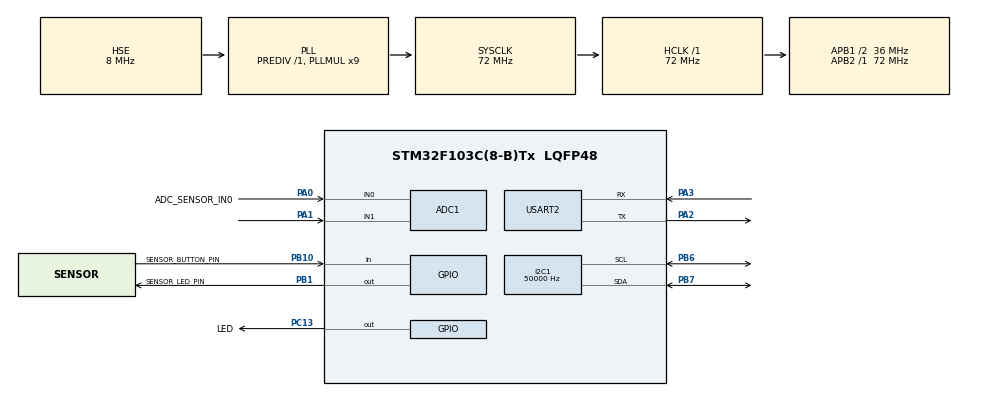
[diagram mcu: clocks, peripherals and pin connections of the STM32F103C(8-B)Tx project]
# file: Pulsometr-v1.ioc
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ADC1.Channel-2\#ChannelRegularConversion=ADC_CHANNEL_0
ADC1.ContinuousConvMode=ENABLE
ADC1.EnableAnalogWatchDog=false
ADC1.EnableRegularConversion=ENABLE
ADC1.ExternalTrigConv=ADC_SOFTWARE_START
ADC1.InjNumberOfConversion=0
ADC1.NbrOfConversionFlag=1
ADC1.Rank-2\#ChannelRegularConversion=1
ADC1.SamplingTime-2\#ChannelRegularConversion=ADC_SAMPLETIME_55CYCLES_5
ADC1.master=1
Dma.ADC1.0.Direction=DMA_PERIPH_TO_MEMORY
Dma.ADC1.0.Instance=DMA1_Channel1
Dma.ADC1.0.MemDataAlignment=DMA_MDATAALIGN_HALFWORD
Dma.ADC1.0.MemInc=DMA_MINC_DISABLE
Dma.ADC1.0.Mode=DMA_CIRCULAR
Dma.ADC1.0.PeriphDataAlignment=DMA_PDATAALIGN_HALFWORD
Dma.ADC1.0.PeriphInc=DMA_PINC_DISABLE
Dma.ADC1.0.Priority=DMA_PRIORITY_MEDIUM
Dma.Request0=ADC1
I2C1.ClockSpeed=50000
Mcu.Family=STM32F1
Mcu.Name=STM32F103C(8-B)Tx
Mcu.Package=LQFP48
NVIC.DMA1_Channel1_IRQn=true\:0\:0\:false\:false\:true\:false
NVIC.PriorityGroup=NVIC_PRIORITYGROUP_4
NVIC.TIM2_IRQn=true\:0\:0\:false\:false\:true\:true
NVIC.USART2_IRQn=true\:0\:0\:false\:false\:true\:true
PA0-WKUP.GPIO_Label=ADC_SENSOR_IN0
PA0-WKUP.Signal=ADCx_IN0
PA1.Signal=ADCx_IN1
PA13.Mode=Serial_Wire
PA13.Signal=SYS_JTMS-SWDIO
PA14.Mode=Serial_Wire
PA14.Signal=SYS_JTCK-SWCLK
PA2.Mode=Asynchronous
PA2.Signal=USART2_TX
PA3.GPIO_PuPd=GPIO_PULLDOWN
PA3.Mode=Asynchronous
PA3.Signal=USART2_RX
PB1.GPIO_Label=SENSOR_LED_PIN
PB1.Signal=GPIO_Output
PB10.GPIO_Label=SENSOR_BUTTON_PIN
PB10.GPIO_PuPd=GPIO_PULLUP
PB10.Signal=GPIO_Input
PB6.Mode=I2C
PB6.Signal=I2C1_SCL
PB7.Mode=I2C
PB7.Signal=I2C1_SDA
PC13-TAMPER-RTC.GPIO_Label=LED
PC13-TAMPER-RTC.Signal=GPIO_Output
PC14-OSC32_IN.Mode=LSE-External-Oscillator
PC14-OSC32_IN.Signal=RCC_OSC32_IN
PC15-OSC32_OUT.Mode=LSE-External-Oscillator
PC15-OSC32_OUT.Signal=RCC_OSC32_OUT
PD0-OSC_IN.Mode=HSE-External-Oscillator
PD0-OSC_IN.Signal=RCC_OSC_IN
PD1-OSC_OUT.Mode=HSE-External-Oscillator
PD1-OSC_OUT.Signal=RCC_OSC_OUT
ProjectManager.HeapSize=0x200
ProjectManager.StackSize=0x400
ProjectManager.TargetToolchain=TrueSTUDIO
RCC.ADCPresc=RCC_ADCPCLK2_DIV8
RCC.AHBFreq_Value=72000000
RCC.APB1CLKDivider=RCC_HCLK_DIV2
RCC.APB1Freq_Value=36000000
RCC.APB1TimFreq_Value=72000000
RCC.APB2Freq_Value=72000000
RCC.APB2TimFreq_Value=72000000
RCC.HCLKFreq_Value=72000000
RCC.PLLMUL=RCC_PLL_MUL9
RCC.PLLSourceVirtual=RCC_PLLSOURCE_HSE
RCC.SYSCLKFreq_VALUE=72000000
RCC.SYSCLKSource=RCC_SYSCLKSOURCE_PLLCLK
RCC.USBFreq_Value=72000000
SH.ADCx_IN0.0=ADC1_IN0,IN0
SH.ADCx_IN1.0=ADC1_IN1,IN1
TIM2.AutoReloadPreload=TIM_AUTORELOAD_PRELOAD_DISABLE
TIM2.Period=1999
TIM2.Prescaler=71
TIM2.TIM_MasterOutputTrigger=TIM_TRGO_UPDATE
USART2.VirtualMode=VM_ASYNC
VP_TIM2_VS_ClockSourceINT.Mode=Internal
board=custom

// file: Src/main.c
/**
  ******************************************************************************
  * @file           : main.c
  * @brief          : Main program body
  ******************************************************************************
  ** This notice applies to any and all portions of this file
  * that are not between comment pairs USER CODE BEGIN and
  * USER CODE END. Other portions of this file, whether
  * inserted by the user or by software development tools
  * are owned by their respective copyright owners.
  *
  * COPYRIGHT(c) 2020 STMicroelectronics
  *
  * Redistribution and use in source and binary forms, with or without modification,
  * are permitted provided that the following conditions are met:
  *   1. Redistributions of source code must retain the above copyright notice,
  *      this list of conditions and the following disclaimer.
  *   2. Redistributions in binary form must reproduce the above copyright notice,
  *      this list of conditions and the following disclaimer in the documentation
  *      and/or other materials provided with the distribution.
  *   3. Neither the name of STMicroelectronics nor the names of its contributors
  *      may be used to endorse or promote products derived from this software
  *      without specific prior written permission.
  *
  * THIS SOFTWARE IS PROVIDED BY THE COPYRIGHT HOLDERS AND CONTRIBUTORS "AS IS"
  * AND ANY EXPRESS OR IMPLIED WARRANTIES, INCLUDING, BUT NOT LIMITED TO, THE
  * IMPLIED WARRANTIES OF MERCHANTABILITY AND FITNESS FOR A PARTICULAR PURPOSE ARE
  * DISCLAIMED. IN NO EVENT SHALL THE COPYRIGHT HOLDER OR CONTRIBUTORS BE LIABLE
  * FOR ANY DIRECT, INDIRECT, INCIDENTAL, SPECIAL, EXEMPLARY, OR CONSEQUENTIAL
  * DAMAGES (INCLUDING, BUT NOT LIMITED TO, PROCUREMENT OF SUBSTITUTE GOODS OR
  * SERVICES; LOSS OF USE, DATA, OR PROFITS; OR BUSINESS INTERRUPTION) HOWEVER
  * CAUSED AND ON ANY THEORY OF LIABILITY, WHETHER IN CONTRACT, STRICT LIABILITY,
  * OR TORT (INCLUDING NEGLIGENCE OR OTHERWISE) ARISING IN ANY WAY OUT OF THE USE
  * OF THIS SOFTWARE, EVEN IF ADVISED OF THE POSSIBILITY OF SUCH DAMAGE.
  *
  ******************************************************************************
  */
#include "main.h"
#include "stm32f1xx_hal.h"

/* USER CODE BEGIN Includes */
#include "stdbool.h"
#include "string.h"
#include "std-stm32lib.h"
#ifdef USE_OLED_LCD
#include "ssd1306.h"
#endif
//#include "interrupt_handler.h"
/* USER CODE END Includes */

ADC_HandleTypeDef hadc1;
DMA_HandleTypeDef hdma_adc1;

I2C_HandleTypeDef hi2c1;

TIM_HandleTypeDef htim2;

UART_HandleTypeDef huart2;

/* USER CODE BEGIN PV */
/* Private variables ---------------------------------------------------------*/

uint8_t UART_NewMessage = 0;
char rxString[MAXSTRING];
uint8_t UART1_rxBuffer = '\000';
bool adcIsRead;
bool buttonIsPressed;
bool loggingEnable, loggingAuto;
#ifdef USE_OLED_LCD
bool printLcdEnable = true;
#endif
uint32_t adc[2] = {0,};

uint8_t currentButtonState;
uint8_t prevState;
uint8_t currentState;

/* USER CODE END PV */

void SystemClock_Config(void);
static void MX_GPIO_Init(void);
static void MX_DMA_Init(void);
static void MX_ADC1_Init(void);
static void MX_USART2_UART_Init(void);
static void MX_TIM2_Init(void);
static void MX_I2C1_Init(void);

/* USER CODE BEGIN PFP */
/* Private function prototypes -----------------------------------------------*/
/* USER CODE END PFP */

/* USER CODE BEGIN 0 */
#ifdef USE_OLED_LCD
void printBpm(uint8_t bpm, uint8_t lcd_id, bool update) {
	char temp_str[5];
	uint8_t i;
	snprintf(temp_str,sizeof(temp_str),"%u",bpm);
	ssd1306_WriteString(4*18, 0, temp_str, Font_11x18, White, lcd_id);
	for (i = 3 - strlen(temp_str); i>0; i-- ) {
		ssd1306_SetCursor((3-i)*11 + 4*18 ,0, lcd_id);
		ssd1306_WriteChar(32, Font_11x18, White, lcd_id);
	}

	if (update) ssd1306_UpdateScreen(lcd_id);
}

void printAdc(uint8_t adcChannel, uint8_t lcd_id, bool update) {
	char temp_str[10];
	uint8_t i;
	snprintf(temp_str,sizeof(temp_str),"%lu",adc[adcChannel]);
	for (i=0;i< 5 - strlen(temp_str);i++ ) {
		ssd1306_SetCursor(i*7 + 5*7,ADC0_Y_POS, lcd_id);
		ssd1306_WriteChar(32, Font_7x10, White,lcd_id);
	}
	if (adcChannel == 0) ssd1306_WriteString(i*7 + 5*7 ,ADC0_Y_POS,temp_str,Font_7x10,White,lcd_id);
	else if (adcChannel == 1) ssd1306_WriteString(i*7 + 5*7 ,ADC1_Y_POS,temp_str,Font_7x10,White,lcd_id);
	if (update) ssd1306_UpdateScreen(lcd_id);
}

void printMain(uint8_t lcd_id) {
	ssd1306_WriteString(22,0,"BPM:",Font_11x18,White,lcd_id);
	ssd1306_SetCursor(0,0, lcd_id);
	ssd1306_WriteChar(31, Font_16x26, White,lcd_id); // HEART symbol

	ssd1306_WriteString(ADC0_X_POS, ADC0_Y_POS,"ADC0:",Font_7x10,White,lcd_id);
	ssd1306_WriteString(ADC1_X_POS,ADC1_Y_POS,"ADC1:",Font_7x10,White,lcd_id);
	printBpm(0, lcd_id, false);
	printAdc(0, lcd_id, false);
	printAdc(1, lcd_id, true);
}
#endif
void checkButton(uint8_t MODE) {

	switch (MODE) {
	case BUTTON_TRIGGERED_MODE:
		if (HAL_GPIO_ReadPin(SENSOR_BUTTON_PIN_GPIO_Port, SENSOR_BUTTON_PIN_Pin) != GPIO_PIN_SET) {
			if (prevState != GPIO_PIN_RESET) {
				prevState = GPIO_PIN_RESET;
				buttonIsPressed = !buttonIsPressed ;
				setLed(buttonIsPressed);
			}
		} else prevState = GPIO_PIN_SET;
		break;
	case BUTTON_NORMAL_MODE:
		if (HAL_GPIO_ReadPin(SENSOR_BUTTON_PIN_GPIO_Port, SENSOR_BUTTON_PIN_Pin) != GPIO_PIN_SET) {
			if (prevState != GPIO_PIN_RESET) {
				prevState = GPIO_PIN_RESET;
				setLed(true);
				buttonIsPressed = true;
			}
		} else {
			if (prevState != GPIO_PIN_SET) {
				prevState = GPIO_PIN_SET;
				setLed(false);
			  	buttonIsPressed = false;
			}
		}
	}
}

void setLed(bool buttonIsPressed) {

	char temp_str[100];
	snprintf(temp_str,sizeof(temp_str), "led:%s\n\r", buttonIsPressed?"true":"false");
	sendMessage(temp_str);

	if (loggingAuto && buttonIsPressed) {
		loggingEnable = true;
	}

	if (buttonIsPressed) {
//		HAL_ADC_Start_IT(&hadc1);
		HAL_GPIO_WritePin(SENSOR_LED_PIN_GPIO_Port, SENSOR_LED_PIN_Pin, GPIO_PIN_SET);
		TIM_Cmd(TIM2, ENABLE);
		#ifdef USE_OLED_LCD
		printMain(MAIN_LCD);
		#endif
	}
	else {
//		HAL_ADC_Stop_IT(&hadc1);
		TIM_Cmd(TIM2, DISABLE);
		HAL_GPIO_WritePin(SENSOR_LED_PIN_GPIO_Port, SENSOR_LED_PIN_Pin, GPIO_PIN_RESET);
#ifdef USE_OLED_LCD
		ssd1306_Fill(0,MAIN_LCD);
		ssd1306_UpdateScreen(MAIN_LCD);
#endif
	}
}

/* USER CODE END 0 */

int main(void)
{
  /* USER CODE BEGIN 1 */
#ifdef USE_OLED_LCD
	void startTitle(uint8_t lcd_id)
	{
		ssd1306_WriteString(16,0,"Pulsometr",Font_11x18,White,lcd_id);
		ssd1306_UpdateScreen(lcd_id);
		HAL_Delay(50);
		ssd1306_WriteString(15,30,"by XaTa6 v1.0",Font_7x10,White,lcd_id);
		ssd1306_UpdateScreen(lcd_id);
		HAL_Delay(150);
		ssd1306_WriteString(0,41,"Lutsk,UKRAINE,2020",Font_7x10,White,lcd_id);
		ssd1306_UpdateScreen(lcd_id);
		HAL_Delay(2000);
		ssd1306_Fill(0,lcd_id);
		ssd1306_UpdateScreen(lcd_id);
	}
#endif
  /* USER CODE END 1 */

  /* MCU Configuration----------------------------------------------------------*/

  /* Reset of all peripherals, Initializes the Flash interface and the Systick. */
  HAL_Init();

  /* Configure the system clock */
  SystemClock_Config();

  /* Initialize all configured peripherals */
  MX_GPIO_Init();
  MX_DMA_Init();
  MX_ADC1_Init();
  MX_USART2_UART_Init();
  MX_TIM2_Init();
  MX_I2C1_Init();
  /* USER CODE BEGIN 2 */
  HAL_GPIO_WritePin(SENSOR_LED_PIN_GPIO_Port, SENSOR_LED_PIN_Pin, GPIO_PIN_SET);
  HAL_GPIO_WritePin(LED_GPIO_Port, LED_Pin, GPIO_PIN_SET);

  __HAL_UART_ENABLE_IT(&huart2, UART_IT_RXNE);

  sendMessage("\n\rKernel started on ....\n\r");
  sendMessage("Pulse sensor-usart driver, v1.0 (150420) by dragosha2000@gmx.net, HatSoft (c)\n\rLutsk,UA,2020\n\r");
  sendMessage("adc calibration...\n\r");

  ADC_TempSensorVrefintCmd(ENABLE);
/* Enable ADC1 DMA */
  HAL_ADC_Start_DMA(&hadc1, (uint32_t*)&adc, 2); // 耱囵蝮屐 乐�
//  ADC_DMACmd(ADC1, ENABLE);
/* Enable ADC1 */
//  ADC_Cmd(ADC1, ENABLE);
/*复位校准寄存器 */
  ADC_ResetCalibration(ADC1);
/*等待校准寄存器复位完成 */
  while(ADC_GetResetCalibrationStatus(ADC1));
/* ADC校准 */
  HAL_ADCEx_Calibration_Start(&hadc1);// ADC_StartCalibration(ADC1);
  /* 等待校准完成*/
  while(ADC_GetCalibrationStatus(ADC1));
  /* 由于没有采用外部触发，所以使用软件触发ADC转换 */
  ADC_SoftwareStartConvCmd(ADC1, ENABLE);
//  HAL_ADC_Start_IT(&hadc1);

  TIM_ClearFlag(TIM2,TIM_FLAG_UPDATE);
  TIM_ITConfig(TIM2,TIM_IT_UPDATE,ENABLE);
//  TIM_Cmd(TIM2, ENABLE);

  helpString();
  HAL_GPIO_WritePin(SENSOR_LED_PIN_GPIO_Port, SENSOR_LED_PIN_Pin, GPIO_PIN_RESET);
#ifdef USE_OLED_LCD
  ssd1306_Init(MAIN_LCD);
  ssd1306_UpdateScreen(MAIN_LCD);
  startTitle(MAIN_LCD);
#endif

  /* USER CODE END 2 */

  /* Infinite loop */
  while (1)
  {

  /* USER CODE BEGIN 3 */
	  checkButton(BUTTON_TRIGGERED_MODE); // BUTTON_NORMAL_MODE);

	  if (adcIsRead) {
		  if (loggingEnable) {
			  char temp_str[100];
			  snprintf(temp_str,sizeof(temp_str), "Readed adc data, adc[0]=%lu, adc[1]=%lu, button_state:%s\n\r", adc[0], adc[1], buttonIsPressed?"true":"false");
			  sendMessage(temp_str);
			  //HAL_ADC_Start_IT(&hadc1);// HAL_ADC_Start_DMA(&hadc1, (uint32_t*)&adc, 2);
			  adcIsRead = false;
		  } else {
#ifdef USE_OLED_LCD
			  if (printLcdEnable && buttonIsPressed) printAdc(0, MAIN_LCD, true);
//			  printAdc(0, MAIN_LCD, true);
			  HAL_Delay(50);
#endif
		  }
	  }

	  UartCommandProcessor();
  }
  /* USER CODE END 3 */

}

void SystemClock_Config(void)
{

  RCC_OscInitTypeDef RCC_OscInitStruct;
  RCC_ClkInitTypeDef RCC_ClkInitStruct;
  RCC_PeriphCLKInitTypeDef PeriphClkInit;

    /**Initializes the CPU, AHB and APB busses clocks
    */
  RCC_OscInitStruct.OscillatorType = RCC_OSCILLATORTYPE_HSE;
  RCC_OscInitStruct.HSEState = RCC_HSE_ON;
  RCC_OscInitStruct.HSEPredivValue = RCC_HSE_PREDIV_DIV1;
  RCC_OscInitStruct.HSIState = RCC_HSI_ON;
  RCC_OscInitStruct.PLL.PLLState = RCC_PLL_ON;
  RCC_OscInitStruct.PLL.PLLSource = RCC_PLLSOURCE_HSE;
  RCC_OscInitStruct.PLL.PLLMUL = RCC_PLL_MUL9;
  if (HAL_RCC_OscConfig(&RCC_OscInitStruct) != HAL_OK)
  {
    _Error_Handler(__FILE__, __LINE__);
  }

    /**Initializes the CPU, AHB and APB busses clocks
    */
  RCC_ClkInitStruct.ClockType = RCC_CLOCKTYPE_HCLK|RCC_CLOCKTYPE_SYSCLK
                              |RCC_CLOCKTYPE_PCLK1|RCC_CLOCKTYPE_PCLK2;
  RCC_ClkInitStruct.SYSCLKSource = RCC_SYSCLKSOURCE_PLLCLK;
  RCC_ClkInitStruct.AHBCLKDivider = RCC_SYSCLK_DIV1;
  RCC_ClkInitStruct.APB1CLKDivider = RCC_HCLK_DIV2;
  RCC_ClkInitStruct.APB2CLKDivider = RCC_HCLK_DIV1;

  if (HAL_RCC_ClockConfig(&RCC_ClkInitStruct, FLASH_LATENCY_2) != HAL_OK)
  {
    _Error_Handler(__FILE__, __LINE__);
  }

  PeriphClkInit.PeriphClockSelection = RCC_PERIPHCLK_ADC;
  PeriphClkInit.AdcClockSelection = RCC_ADCPCLK2_DIV8;
  if (HAL_RCCEx_PeriphCLKConfig(&PeriphClkInit) != HAL_OK)
  {
    _Error_Handler(__FILE__, __LINE__);
  }

    /**Configure the Systick interrupt time
    */
  HAL_SYSTICK_Config(HAL_RCC_GetHCLKFreq()/1000);

    /**Configure the Systick
    */
  HAL_SYSTICK_CLKSourceConfig(SYSTICK_CLKSOURCE_HCLK);

  /* SysTick_IRQn interrupt configuration */
  HAL_NVIC_SetPriority(SysTick_IRQn, 0, 0);
}

/* ADC1 init function */
static void MX_ADC1_Init(void)
{

  ADC_ChannelConfTypeDef sConfig;

    /**Common config
    */
  hadc1.Instance = ADC1;
  hadc1.Init.ScanConvMode = ADC_SCAN_DISABLE;
  hadc1.Init.ContinuousConvMode = ENABLE;
  hadc1.Init.DiscontinuousConvMode = DISABLE;
  hadc1.Init.ExternalTrigConv = ADC_SOFTWARE_START;
  hadc1.Init.DataAlign = ADC_DATAALIGN_RIGHT;
  hadc1.Init.NbrOfConversion = 1;
  if (HAL_ADC_Init(&hadc1) != HAL_OK)
  {
    _Error_Handler(__FILE__, __LINE__);
  }

    /**Configure Regular Channel
    */
  sConfig.Channel = ADC_CHANNEL_0;
  sConfig.Rank = ADC_REGULAR_RANK_1;
  sConfig.SamplingTime = ADC_SAMPLETIME_55CYCLES_5;
  if (HAL_ADC_ConfigChannel(&hadc1, &sConfig) != HAL_OK)
  {
    _Error_Handler(__FILE__, __LINE__);
  }

}

/* I2C1 init function */
static void MX_I2C1_Init(void)
{

  hi2c1.Instance = I2C1;
  hi2c1.Init.ClockSpeed = 50000;
  hi2c1.Init.DutyCycle = I2C_DUTYCYCLE_2;
  hi2c1.Init.OwnAddress1 = 0;
  hi2c1.Init.AddressingMode = I2C_ADDRESSINGMODE_7BIT;
  hi2c1.Init.DualAddressMode = I2C_DUALADDRESS_DISABLE;
  hi2c1.Init.OwnAddress2 = 0;
  hi2c1.Init.GeneralCallMode = I2C_GENERALCALL_DISABLE;
  hi2c1.Init.NoStretchMode = I2C_NOSTRETCH_DISABLE;
  if (HAL_I2C_Init(&hi2c1) != HAL_OK)
  {
    _Error_Handler(__FILE__, __LINE__);
  }

}

/* TIM2 init function */
static void MX_TIM2_Init(void)
{

  TIM_ClockConfigTypeDef sClockSourceConfig;
  TIM_MasterConfigTypeDef sMasterConfig;

  htim2.Instance = TIM2;
  htim2.Init.Prescaler = 71;
  htim2.Init.CounterMode = TIM_COUNTERMODE_UP;
  htim2.Init.Period = 1999;
  htim2.Init.ClockDivision = TIM_CLOCKDIVISION_DIV1;
  htim2.Init.AutoReloadPreload = TIM_AUTORELOAD_PRELOAD_DISABLE;
  if (HAL_TIM_Base_Init(&htim2) != HAL_OK)
  {
    _Error_Handler(__FILE__, __LINE__);
  }

  sClockSourceConfig.ClockSource = TIM_CLOCKSOURCE_INTERNAL;
  if (HAL_TIM_ConfigClockSource(&htim2, &sClockSourceConfig) != HAL_OK)
  {
    _Error_Handler(__FILE__, __LINE__);
  }

  sMasterConfig.MasterOutputTrigger = TIM_TRGO_ENABLE;
  sMasterConfig.MasterSlaveMode = TIM_MASTERSLAVEMODE_DISABLE;
  if (HAL_TIMEx_MasterConfigSynchronization(&htim2, &sMasterConfig) != HAL_OK)
  {
    _Error_Handler(__FILE__, __LINE__);
  }

}

/* USART2 init function */
static void MX_USART2_UART_Init(void)
{

  huart2.Instance = USART2;
  huart2.Init.BaudRate = 115200;
  huart2.Init.WordLength = UART_WORDLENGTH_8B;
  huart2.Init.StopBits = UART_STOPBITS_1;
  huart2.Init.Parity = UART_PARITY_NONE;
  huart2.Init.Mode = UART_MODE_TX_RX;
  huart2.Init.HwFlowCtl = UART_HWCONTROL_NONE;
  huart2.Init.OverSampling = UART_OVERSAMPLING_16;
  if (HAL_UART_Init(&huart2) != HAL_OK)
  {
    _Error_Handler(__FILE__, __LINE__);
  }

}

static void MX_DMA_Init(void)
{
  /* DMA controller clock enable */
  __HAL_RCC_DMA1_CLK_ENABLE();

  /* DMA interrupt init */
  /* DMA1_Channel1_IRQn interrupt configuration */
  HAL_NVIC_SetPriority(DMA1_Channel1_IRQn, 0, 0);
  HAL_NVIC_EnableIRQ(DMA1_Channel1_IRQn);

}

/** Configure pins as
        * Analog
        * Input
        * Output
        * EVENT_OUT
        * EXTI
*/
static void MX_GPIO_Init(void)
{

  GPIO_InitTypeDef GPIO_InitStruct;

  /* GPIO Ports Clock Enable */
  __HAL_RCC_GPIOC_CLK_ENABLE();
  __HAL_RCC_GPIOD_CLK_ENABLE();
  __HAL_RCC_GPIOA_CLK_ENABLE();
  __HAL_RCC_GPIOB_CLK_ENABLE();

  /*Configure GPIO pin Output Level */
  HAL_GPIO_WritePin(LED_GPIO_Port, LED_Pin, GPIO_PIN_RESET);

  /*Configure GPIO pin Output Level */
  HAL_GPIO_WritePin(SENSOR_LED_PIN_GPIO_Port, SENSOR_LED_PIN_Pin, GPIO_PIN_RESET);

  /*Configure GPIO pin : LED_Pin */
  GPIO_InitStruct.Pin = LED_Pin;
  GPIO_InitStruct.Mode = GPIO_MODE_OUTPUT_PP;
  GPIO_InitStruct.Pull = GPIO_NOPULL;
  GPIO_InitStruct.Speed = GPIO_SPEED_FREQ_LOW;
  HAL_GPIO_Init(LED_GPIO_Port, &GPIO_InitStruct);

  /*Configure GPIO pin : SENSOR_LED_PIN_Pin */
  GPIO_InitStruct.Pin = SENSOR_LED_PIN_Pin;
  GPIO_InitStruct.Mode = GPIO_MODE_OUTPUT_PP;
  GPIO_InitStruct.Pull = GPIO_NOPULL;
  GPIO_InitStruct.Speed = GPIO_SPEED_FREQ_LOW;
  HAL_GPIO_Init(SENSOR_LED_PIN_GPIO_Port, &GPIO_InitStruct);

  /*Configure GPIO pin : SENSOR_BUTTON_PIN_Pin */
  GPIO_InitStruct.Pin = SENSOR_BUTTON_PIN_Pin;
  GPIO_InitStruct.Mode = GPIO_MODE_INPUT;
  GPIO_InitStruct.Pull = GPIO_PULLUP;
  HAL_GPIO_Init(SENSOR_BUTTON_PIN_GPIO_Port, &GPIO_InitStruct);

}

/* USER CODE BEGIN 4 */
void Delay(uint16_t nCount)
{
	while (nCount--);
}

void UartCommandProcessor() {

	char string_temp[50];
	int8_t message_id;
//	char binaryString[(sizeof(int) << 3) + 1];
//	char* temp_str;

	if (UART_NewMessage == 1) {
		snprintf(string_temp,sizeof(string_temp),"<UART0> incoming message:%s\n\r", rxString);
		sendMessage(string_temp);
		message_id = processUartMessage(rxString);
		if (message_id>-1) {
			snprintf(string_temp,sizeof(string_temp),"<UART0> command id:%u\n\r", message_id);
			sendMessage(string_temp);
			switch (message_id) {
			case UART_CMD_GET_ADC:
				readAdc();
				break;
			case UART_CMD_HELP:
				helpString();
				break;
			case UART_CMD_LED_ON:
				setLed(true);
				break;
			case UART_CMD_LED_OFF:
				setLed(false);
				break;
			} // loggingEnable
		} else {
			sendMessage("incorrect command !\n\r");
		}
		UART_NewMessage = 0;
	}
}

uint8_t processUartMessage(char* string) {

	char* index;
//	char str1[6];
	int8_t id = -1;

	index = strstr(string,CMD_HELP_DEFINE);
    if(index!=NULL) return UART_CMD_HELP;
    else {
    	index = strstr(string,CMD_GETADC_DEFINE);
    	if (index!=NULL) {
    		return UART_CMD_GET_ADC;
    	} else {
        	index = strstr(string,CMD_LEDON_DEFINE);
        	if (index!=NULL) {
        		return UART_CMD_LED_ON;
        	} else {
            	index = strstr(string,CMD_LEDOFF_DEFINE);
            	if (index!=NULL) {
            		return UART_CMD_LED_OFF;
            	} else {
                	index = strstr(string,CMD_LOGGINGON_DEFINE);
                	if (index!=NULL) {
                		loggingEnable = true;
                		loggingAuto = false;
                		setLed(buttonIsPressed);
                		return UART_CMD_LOGGING_ON;
                	} else {
                    	index = strstr(string,CMD_LOGGINGOFF_DEFINE);
                    	if (index!=NULL) {
                    		loggingEnable = false;
                    		loggingAuto = false;
                    		setLed(buttonIsPressed);
                    		return UART_CMD_LOGGING_OFF;
                    	} else {
                        	index = strstr(string,CMD_LOGGINGAUTO_DEFINE);
                        	if (index!=NULL) {
                        		loggingAuto = true;
                        		setLed(buttonIsPressed);
                        		return UART_CMD_LOGGINGAUTO;
                        	}
                    	}
                	}
            	}
        	}
    	}
    }
    return id;
}

void helpString() {
	sendMessage("Usage:\n\r"
			"help - this page\n\r"
			"sensor:on, sensor:off - pulse sensor led on/off\n\r"
			"log:on ,log:off, log:auto - enable/disable/auto mode logout to uart\n\r"
			"---\n\r");
}

void eepromWriteInt(uint8_t address, uint16_t data) {

}

void HAL_UART_RxCpltCallback(UART_HandleTypeDef *huart)
{
	static short int UART1_rxindex = 0;
	static uint8_t UART1_ErrorFlag = UART_PACKET_OK;

		UART1_rxBuffer = (uint8_t)huart->Instance->DR;
		if (UART1_rxBuffer == 8 || UART1_rxBuffer == 127) // If Backspace or del
		{
			UART1_rxindex--;
			if (UART1_rxindex < 0) UART1_rxindex = 0;
		}

		else if (UART1_rxBuffer == '\n' || UART1_rxBuffer == '\r' || UART1_rxBuffer == '\0') // If Enter
		{
			if (UART1_ErrorFlag == UART_PACKET_OK && UART1_rxindex)
			{
				rxString[UART1_rxindex] = 0;
				UART1_rxindex = 0;
				UART_NewMessage = 1;
			}
			else
			{
				sendMessage("ERROR > UART1 packet too long\n\r");
				UART1_ErrorFlag = UART_PACKET_OK; // reset error state
			}
		}

		else
		{
			if (UART1_rxBuffer != '\r' && UART1_ErrorFlag == UART_PACKET_OK) // Ignore return
			{
				rxString[UART1_rxindex] = UART1_rxBuffer; // Add that character to the string
				UART1_rxindex++;
				if (UART1_rxindex >= MAXSTRING) // User typing too much, we can't have commands that big
				{
					UART1_ErrorFlag = UART_PACKET_TOO_LONG;
					UART1_rxindex = 0;
					rxString[UART1_rxindex] = '\000';
					UART_NewMessage = 1;
				}
			}
		}
		__HAL_UART_ENABLE_IT(huart, UART_IT_RXNE);
}

void HAL_ADC_ConvCpltCallback(ADC_HandleTypeDef* hadc) {
	if(hadc->Instance == ADC1) //check if the interrupt comes from ACD1
    {
		adcIsRead = true; //HAL_ADC_Start_DMA(&hadc1, (uint32_t*)&adc, 2);
    }
}

void readAdc() {

}

void sendMessage(char string[]) {
//	snprintf(string_out,sizeof(string_out),string);
//	CDC_Transmit_FS(string, (uint16_t)strlen(string));
	HAL_UART_Transmit(&huart2,(uint8_t*)string,strlen(string), HAL_MAX_DELAY);
}

void sendDataToProcessing(char symbol, int data) {
	char temp_str[50];
	snprintf(temp_str,sizeof(temp_str),"%c=%u\n\r",symbol, data);
	sendMessage(temp_str);
}

//void Delay(uint16_t nCount)
//{
//	while (nCount--);
//}

/* USER CODE END 4 */

void _Error_Handler(char *file, int line)
{
  while(1)
  {
  }
}

/************************ (C) COPYRIGHT STMicroelectronics *****END OF FILE****/
